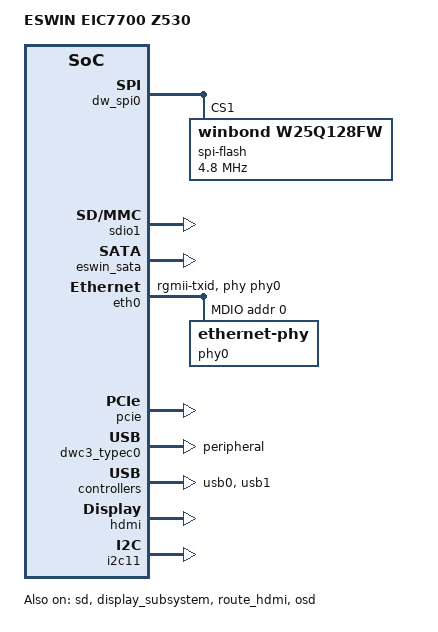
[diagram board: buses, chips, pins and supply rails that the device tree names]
// SPDX-License-Identifier: GPL-2.0
/*
 * Device Tree file for Eswin EIC7700 Z530 SoC.
 *
 * Copyright 2024, Beijing ESWIN Computing Technology Co., Ltd.. All rights reserved.
 *
 * This program is free software: you can redistribute it and/or modify
 * it under the terms of the GNU General Public License as published by
 * the Free Software Foundation, version 2.
 *
 * This program is distributed in the hope that it will be useful,
 * but WITHOUT ANY WARRANTY; without even the implied warranty of
 * MERCHANTABILITY or FITNESS FOR A PARTICULAR PURPOSE.  See the
 * GNU General Public License for more details.
 *
 * You should have received a copy of the GNU General Public License
 * along with this program.  If not, see <https://www.gnu.org/licenses/>.
 *
 * Authors: Xiang Xu <xuxiang@eswincomputing.com>
 */
#include "eic7700-som260.dtsi"

/ {
	#address-cells = <2>;
	#size-cells = <2>;
	model = "ESWIN EIC7700 Z530";
	compatible = "eswin,eic7700";

	aliases {
		serial0 = &uart0;
		i2c0 = &i2c0;
		i2c1 = &i2c1;
		i2c2 = &i2c2;
		i2c3 = &i2c3;
		i2c4 = &i2c4;
		i2c5 = &i2c5;
		i2c6 = &i2c6;
		i2c7 = &i2c7;
		i2c8 = &i2c8;
		i2c9 = &i2c9;
		i2c11 = &i2c11;
		i2c12 = &i2c12;
		gpio0 = &gpio0;
		spi0 = &bootspi;
		spi1 = &dw_spi0;
	};
};

&dw_spi0 {
	status = "okay";
	spi-flash@1 {
		reg = <1>;
		compatible = "winbond,w25q128fw",
			"jedec,spi-nor";
		spi-max-frequency = <4800000>;
	};
};
&sd {
	status = "okay";
	delay_code = <0x3b>;
	drive-impedance-ohm = <33>;
	enable-cmd-pullup;
	enable-data-pullup;
};

&sdio1 {
        status = "okay";
        delay_code = <0x29>;
        drive-impedance-ohm = <33>;
        enable-cmd-pullup;
        enable-data-pullup;
        pinctrl-names = "default";
        pinctrl-0 = <&pinctrl_gpio79_default>;
        rst-gpios = <&portc 15 GPIO_ACTIVE_HIGH>;
};


&eswin_sata {
	status = "okay";
};

&eth0 {
	status = "okay";
	phy-mode = "rgmii-txid";
	max-speed = <1000>;
	phy-handle = <&phy0>;
	pinctrl-names = "default";
	pinctrl-0 = <&pinctrl_gpio76_default>;
	rst-gpios = <&portc 12 GPIO_ACTIVE_LOW>;
	dly-param-1000m = <0x10101010 0x1D003410 0x0>;
	dly-param-100m = <0x10101010 0x64104610 0x10101010>;
	dly-param-10m = <0 0 0>;
	mdio0 {
		#address-cells = <1>;
		#size-cells = <0>;
		phy0: ethernet-phy@1 {
			reg = <0>;
		};
	};
};

&eth1 {
	status = "disabled";
	phy-mode = "rgmii-txid";
	max-speed = <1000>;
	phy-handle = <&phy1>;
	pinctrl-names = "default";
	pinctrl-0 = <&pinctrl_gpio76_default>;
	rst-gpios = <&portc 12 GPIO_ACTIVE_LOW>;
	dly-param-1000m = <0x10101010 0x14102810 0x10101010>;
	dly-param-100m = <0x10101010 0x3C102810 0x10101010>;
	dly-param-10m = <0 0 0>;
	mdio1 {
		#address-cells = <1>;
		#size-cells = <0>;
		phy1: ethernet-phy@1 {
			reg = <0>;
		};
	};
};

&pcie {
	status = "okay";
};
&display_logo {
	status = "disabled";
};
&dwc3_typec0 {
		status = "okay";
		dr_mode = "peripheral";
		maximum-speed = "super-speed";
};
&usb0 {
	status = "okay";
};
&usb1 {
	status = "okay";
};
&hdmi {
	status = "okay";
};
&display_subsystem {
	status = "okay";
};
&route_hdmi {
	status = "okay";
};
&osd {
	status = "okay";
};
&i2c0 {
	status = "disabled";
};
&i2c2 {
	status = "disabled";
};
&i2c3 {
	status = "disabled";
};
&i2c11 {
	status = "okay";
};
